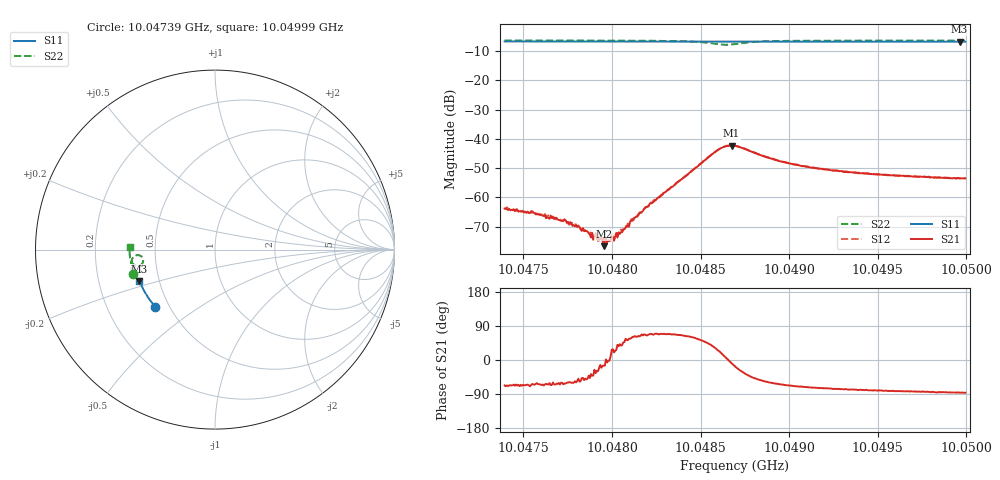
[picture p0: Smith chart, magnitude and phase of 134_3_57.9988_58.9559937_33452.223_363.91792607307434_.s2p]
#  HZ  S  RI  R  50.00
! Rohde & Schwarz Vector Network Analyzer
! Rohde-Schwarz,ZNB20-2Port,1311601062101988,3.16
! Created: UTC 3/21/2024, 12:56:15 AM
! freq[Hz]  re:S11  im:S11  re:S21  im:S21  re:S12  im:S12  re:S22  im:S22
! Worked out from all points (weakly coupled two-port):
!   401 points, 10.04739 GHz to 10.04999 GHz, reference 50 ohm
!   highest |S21| = -42.30 dB at 10.04867 GHz (marker M1); lowest = -76.7 dB at 10.04795 GHz (marker M2)
!   lowest |S11| = -6.8 dB at 10.04996 GHz (marker M3), VSWR 2.67, Z = 19.3 - j8.51 ohm
!   |S11| at or under -10 dB: nowhere
!   |S22| runs from -7.9 to -6.4 dB; largest |S21 - S12| = 0.00053
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1.0047395e10  -0.3326 -0.3181  0.000251 -0.000594  0.000289 -0.000592  -0.4583 -0.1377
1.0047557e10  -0.3398 -0.3099  0.000236 -0.000496  0.000266 -0.000484  -0.461 -0.1267
1.0047668e10  -0.3445 -0.3043  0.000235 -0.000398  0.000243 -0.000405  -0.4628 -0.1186
1.0047739e10  -0.3474 -0.3006  0.000192 -0.000359  0.000233 -0.000333  -0.4637 -0.1135
1.004783e10  -0.3513 -0.2959  0.00018 -0.000198  0.000192 -0.000209  -0.4648 -0.1065
1.0047888e10  -0.3536 -0.2929  0.000186 -0.000165  0.000195 -0.000123  -0.4656 -0.1018
1.0047914e10  -0.3547 -0.2914  0.000189 -0.000104  0.000172 -0.00011  -0.4658 -0.0999
1.0047953e10  -0.3564 -0.2893  0.000142 -3.86e-05  0.000163 -3.37e-05  -0.4661 -0.0967
1.0047979e10  -0.3573 -0.288  0.000187 -6.14e-06  0.000192 2.09e-05  -0.4665 -0.0946
1.0048012e10  -0.3585 -0.2863  0.000171 6.26e-05  0.000166 0.000107  -0.4667 -0.0918
1.0048044e10  -0.3598 -0.2844  0.000178 0.000159  0.000159 0.000182  -0.467 -0.089
1.0048116e10  -0.3628 -0.2807  0.000204 0.000366  0.000183 0.000353  -0.4673 -0.0825
1.0048265e10  -0.3685 -0.2727  0.000384 0.000916  0.000311 0.000966  -0.4663 -0.0673
1.0048577e10  -0.3794 -0.2551  0.00488 0.0032  0.00468 0.00352  -0.4216 -0.0321
1.0048629e10  -0.381 -0.2524  0.00708 0.0016  0.00699 0.00203  -0.4032 -0.0476
1.0048675e10  -0.3825 -0.2499  0.00759 -0.00115  0.00769 -0.000633  -0.4021 -0.0715
1.0048694e10  -0.3832 -0.2492  0.00728 -0.00218  0.00743 -0.00168  -0.407 -0.08
1.0048935e10  -0.3917 -0.2357  0.00194 -0.0038  0.00217 -0.0037  -0.4627 -0.0724
1.004913e10  -0.3981 -0.2245  0.00096 -0.00308  0.00116 -0.00303  -0.4715 -0.0512
1.0049565e10  -0.4108 -0.1984  0.000353 -0.00237  0.000495 -0.00236  -0.4763 -0.0149
1.0049962e10  -0.4209 -0.1743  0.00015 -0.00211  0.00028 -0.0021  -0.4764 0.0139
1.0049994e10  -0.4217 -0.1724  0.000133 -0.00211  0.000271 -0.00209  -0.4764 0.016
